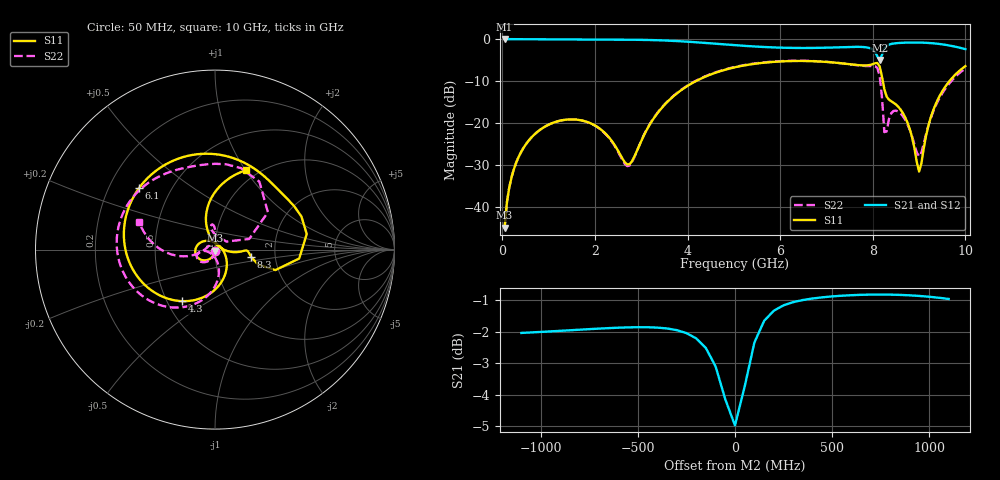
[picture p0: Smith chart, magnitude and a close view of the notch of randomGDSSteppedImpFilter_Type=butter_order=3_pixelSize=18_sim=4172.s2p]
! freq	dB(S11)	phase(S11)	dB(S12)	phase(S12)
!  dB(S21)	phase(S21)	dB(S22)	phase(S22)
!S-par simulation data
#  GHz  S  DB  R 50
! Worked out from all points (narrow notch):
!   200 points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, 50 MHz to 10 GHz, reference 50 ohm
!   highest |S21| = -0.01 dB at 50 MHz (marker M1); lowest = -5.0 dB at 8.15 GHz (marker M2)
!   notch at M2: 4.0 dB deep, 191 MHz wide at half that depth
!   lowest |S11| = -44.9 dB at 50 MHz (marker M3), VSWR 1.01, Z = 50 - j0.571 ohm
!   |S11| at or under -10 dB: start of sweep to 4.181 GHz; 8.217 GHz to 9.657 GHz (1.44 GHz wide, 16.1 % of centre)
!   |S22| runs from -44.8 to -5.2 dB; largest |S21 - S12| = 0
!   S11 on the Smith chart (normalised r, x): 50 MHz: 1.00, -0.01; 4.3 GHz: 0.60, -0.39; 6.1 GHz: 0.33, +0.32; 8.3 GHz: 1.50, -0.13; 10 GHz: 0.88, +1.01
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0.05  -44.86 -92.2  -0.01 -2.4  -0.01 -2.4  -44.84 -91.7
0.2  -32.86 -100.8  -0.02 -9.6  -0.02 -9.6  -32.84 -98.8
0.55  -24.44 -119.5  -0.05 -26.1  -0.05 -26.1  -24.43 -114.0
1.75  -19.45 174.2  -0.14 -82.6  -0.14 -82.6  -19.47 -161.6
2.25  -22.72 138.5  -0.14 -106.4  -0.14 -106.4  -22.82 -173.8
2.7  -29.84 55.6  -0.15 -128.3  -0.15 -128.3  -30.22 -132.7
3.4  -16.94 -65.4  -0.30 -163.2  -0.30 -163.2  -16.85 -81.8
4.3  -9.35 -122.5  -0.85 151.8  -0.85 151.8  -9.27 -114.5
5.05  -6.65 -163.9  -1.48 116.1  -1.48 116.1  -6.57 -144.2
6.1  -5.28 141.1  -2.07 68.5  -2.07 68.5  -5.21 176.4
6.7  -5.27 109.3  -2.11 41.2  -2.11 41.2  -5.22 153.9
7.6  -6.11 58.7  -1.86 -3.6  -1.86 -3.6  -6.15 115.5
8.05  -5.76 21.0  -3.10 -33.0  -3.10 -33.0  -6.44 72.2
8.15  -6.53 -6.0  -4.98 -25.5  -4.98 -25.5  -8.85 35.2
8.25  -11.93 -19.0  -2.34 -20.0  -2.34 -20.0  -22.13 34.9
8.3  -13.70 -11.7  -1.65 -25.5  -1.65 -25.5  -21.97 88.3
8.35  -14.43 -5.6  -1.33 -30.7  -1.33 -30.7  -19.01 99.8
8.5  -15.55 -1.9  -0.99 -43.4  -0.99 -43.4  -17.02 96.1
8.75  -19.88 -7.9  -0.84 -61.1  -0.84 -61.1  -20.29 89.8
9  -31.52 48.1  -0.83 -78.0  -0.83 -78.0  -27.94 139.4
9.35  -15.70 107.9  -1.06 -102.0  -1.06 -102.0  -16.07 -166.6
10  -6.44 68.4  -2.41 -146.4  -2.41 -146.4  -6.97 160.3
